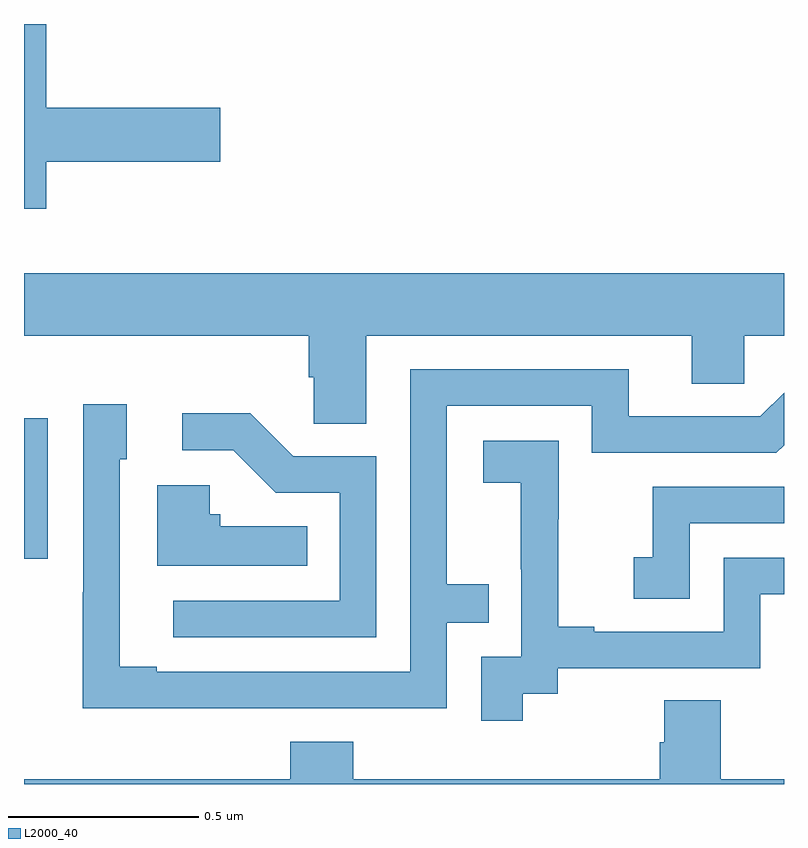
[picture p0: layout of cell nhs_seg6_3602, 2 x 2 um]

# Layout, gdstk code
import gdstk
lib = gdstk.Library(unit=1e-6, precision=1e-09)
def R(c, l, rs):  # rectangles x0, y0, x1, y1
    for r in rs: c.add(gdstk.rectangle(r[:2], r[2:], *l))
def P(c, l, *ps):  # polygons
    for p in ps: c.add(gdstk.Polygon(p, *l))
L2000_40 = (2000, 40)

nhs_seg6_3602 = lib.new_cell('nhs_seg6_3602')
R(nhs_seg6_3602, L2000_40, [(159,936.093,159.063,936.462)])
P(nhs_seg6_3602, L2000_40, [(159.059,937.138),(159.517,937.138),(159.517,937.28),(159.059,937.28),(159.059,937.5),(159,937.5),(159,937.014),(159.059,937.014)],
  [(159.901,936.68),(160.757,936.68),(160.757,936.553),(160.896,936.553),(160.896,936.68),(161,936.68),(161,936.844),(159,936.844),(159,936.68),(159.749,936.68),(159.749,936.571),(159.762,936.571),(159.762,936.448),(159.901,936.448)],
  [(159.617,935.7),(160.113,935.7),(160.113,935.925),(160.223,935.925),(160.223,936.026),(160.113,936.026),(160.113,936.495),(160.494,936.495),(160.494,936.372),(160.98,936.372),(161,936.392),(161,936.53),(160.938,936.468),(160.591,936.468),(160.591,936.591),(160.017,936.591),(160.017,935.796),(159.349,935.796),(159.349,935.809),(159.252,935.809),(159.252,936.354),(159.271,936.354),(159.271,936.499),(159.156,936.499),(159.156,936.005),(159.154,936.005),(159.154,935.699),(159.617,935.699)],
  [(159.927,936.363),(159.708,936.363),(159.595,936.476),(159.417,936.476),(159.417,936.378),(159.551,936.378),(159.662,936.267),(159.831,936.267),(159.831,935.982),(159.393,935.982),(159.393,935.886),(159.927,935.886)],
  [(160.312,935.737),(160.404,935.737),(160.404,935.805),(160.938,935.805),(160.938,936),(161,936),(161,936.096),(160.842,936.096),(160.842,935.901),(160.501,935.901),(160.501,935.914),(160.406,935.914),(160.406,936.197),(160.407,936.197),(160.407,936.403),(160.209,936.403),(160.209,936.293),(160.307,936.293),(160.307,936.065),(160.308,936.065),(160.308,935.835),(160.203,935.835),(160.203,935.667),(160.312,935.667)],
  [(159.746,936.178),(159.516,936.178),(159.516,936.21),(159.489,936.21),(159.489,936.286),(159.35,936.286),(159.35,936.074),(159.746,936.074)],
  [(160.752,936.186),(161,936.186),(161,936.282),(160.654,936.282),(160.654,936.097),(160.605,936.097),(160.605,935.988),(160.752,935.988)],
  [(161,935.512),(160.833,935.512),(160.833,935.72),(160.685,935.72),(160.685,935.61),(160.673,935.61),(160.673,935.512),(159.866,935.512),(159.866,935.611),(159.701,935.611),(159.701,935.512),(159,935.512),(159,935.5),(161,935.5)])

lib.write_gds('nhs_seg6_3602.gds')
